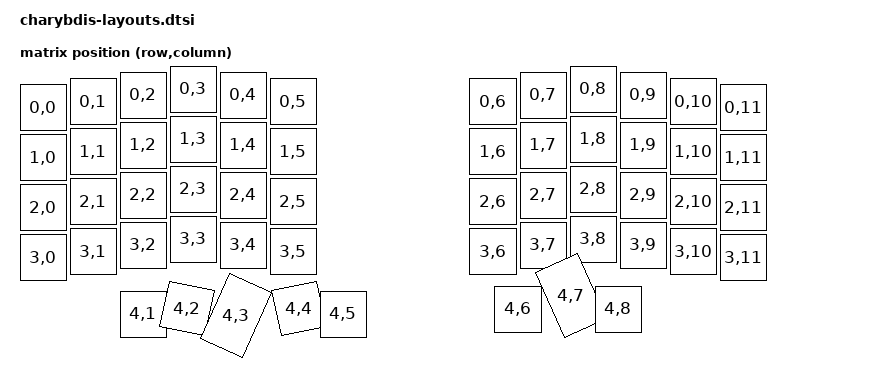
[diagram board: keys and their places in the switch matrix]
#include <physical_layouts.dtsi>

/ {

    default_transform0: keymap_transform_0 {
        compatible = "zmk,matrix-transform";
        columns = <16>;
        rows = <5>;

/*
| SW1  SW2  SW3  SW4  SW5  SW6  |         | SW7  SW8  SW9  SW10 SW11 SW12 |
| SW13 SW14 SW15 SW16 SW17 SW18 |         | SW19 SW20 SW21 SW22 SW23 SW24 |
| SW25 SW26 SW27 SW28 SW29 SW30 |         | SW31 SW32 SW33 SW34 SW35 SW36 |
| SW37 SW38 SW39 SW40 SW41 SW42 |         | SW43 SW44 SW45 SW46 SW47 SW48 |
|      SW49 SW50 SW51 SW52 SW53 |         | SW54 SW55 SW56                |
*/

        map = <
RC(0,0) RC(0,1) RC(0,2) RC(0,3) RC(0,4) RC(0,5)                 RC(0,6) RC(0,7) RC(0,8)  RC(0,9) RC(0,10) RC(0,11)
RC(1,0) RC(1,1) RC(1,2) RC(1,3) RC(1,4) RC(1,5)                 RC(1,6) RC(1,7) RC(1,8)  RC(1,9) RC(1,10) RC(1,11)
RC(2,0) RC(2,1) RC(2,2) RC(2,3) RC(2,4) RC(2,5)                 RC(2,6) RC(2,7) RC(2,8)  RC(2,9) RC(2,10) RC(2,11)
RC(3,0) RC(3,1) RC(3,2) RC(3,3) RC(3,4) RC(3,5)                 RC(3,6) RC(3,7) RC(3,8)  RC(3,9) RC(3,10) RC(3,11)
        RC(4,1) RC(4,2) RC(4,3) RC(4,4) RC(4,5)                 RC(4,6) RC(4,7) RC(4,8)
        >;
    };

    physical_layout0: physical_layout_0 {
        compatible = "zmk,physical-layout";
        display-name = "charybdis";

        kscan = <&kscan0>;
        transform = <&default_transform0>;

        keys  //                     w   h    x    y     rot    rx    ry

            /* --- Main matrix rows unchanged (4x6 per half) --- */

            /* Row 1 */
            = <&key_physical_attrs 100 100    0   37 0 0 0>
            , <&key_physical_attrs 100 100  100   25 0 0 0>
            , <&key_physical_attrs 100 100  200   12 0 0 0>
            , <&key_physical_attrs 100 100  300    0 0 0 0>
            , <&key_physical_attrs 100 100  400   12 0 0 0>
            , <&key_physical_attrs 100 100  500   25 0 0 0>

            , <&key_physical_attrs 100 100  900   25 0 0 0>
            , <&key_physical_attrs 100 100 1000   12 0 0 0>
            , <&key_physical_attrs 100 100 1100    0 0 0 0>
            , <&key_physical_attrs 100 100 1200   12 0 0 0>
            , <&key_physical_attrs 100 100 1300   25 0 0 0>
            , <&key_physical_attrs 100 100 1400   37 0 0 0>

            /* Row 2 */
            , <&key_physical_attrs 100 100    0  137 0 0 0>
            , <&key_physical_attrs 100 100  100  125 0 0 0>
            , <&key_physical_attrs 100 100  200  112 0 0 0>
            , <&key_physical_attrs 100 100  300  100 0 0 0>
            , <&key_physical_attrs 100 100  400  112 0 0 0>
            , <&key_physical_attrs 100 100  500  125 0 0 0>

            , <&key_physical_attrs 100 100  900  125 0 0 0>
            , <&key_physical_attrs 100 100 1000  112 0 0 0>
            , <&key_physical_attrs 100 100 1100  100 0 0 0>
            , <&key_physical_attrs 100 100 1200  112 0 0 0>
            , <&key_physical_attrs 100 100 1300  125 0 0 0>
            , <&key_physical_attrs 100 100 1400  137 0 0 0>

            /* Row 3 */
            , <&key_physical_attrs 100 100    0  237 0 0 0>
            , <&key_physical_attrs 100 100  100  225 0 0 0>
            , <&key_physical_attrs 100 100  200  212 0 0 0>
            , <&key_physical_attrs 100 100  300  200 0 0 0>
            , <&key_physical_attrs 100 100  400  212 0 0 0>
            , <&key_physical_attrs 100 100  500  225 0 0 0>

            , <&key_physical_attrs 100 100  900  225 0 0 0>
            , <&key_physical_attrs 100 100 1000  212 0 0 0>
            , <&key_physical_attrs 100 100 1100  200 0 0 0>
            , <&key_physical_attrs 100 100 1200  212 0 0 0>
            , <&key_physical_attrs 100 100 1300  225 0 0 0>
            , <&key_physical_attrs 100 100 1400  237 0 0 0>

            /* Row 4 */
            , <&key_physical_attrs 100 100    0  337 0 0 0>
            , <&key_physical_attrs 100 100  100  325 0 0 0>
            , <&key_physical_attrs 100 100  200  312 0 0 0>
            , <&key_physical_attrs 100 100  300  300 0 0 0>
            , <&key_physical_attrs 100 100  400  312 0 0 0>
            , <&key_physical_attrs 100 100  500  325 0 0 0>

            , <&key_physical_attrs 100 100  900  325 0 0 0>
            , <&key_physical_attrs 100 100 1000  312 0 0 0>
            , <&key_physical_attrs 100 100 1100  300 0 0 0>
            , <&key_physical_attrs 100 100 1200  312 0 0 0>
            , <&key_physical_attrs 100 100 1300  325 0 0 0>
            , <&key_physical_attrs 100 100 1400  337 0 0 0>

            /* --- Left thumb cluster (5 keys) --- */
            , <&key_physical_attrs 100 100  200  450 0 0 0>
            , <&key_physical_attrs 100 100  300  430 1200 300 430>
            , <&key_physical_attrs 100 150  400  410 2400 400 460>
            , <&key_physical_attrs 100 100  500  430 (-1200) 600 430>
            , <&key_physical_attrs 100 100  600  450 0 0 0>

            /* --- Right thumb cluster (3 keys only) --- */
            , <&key_physical_attrs 100 100  950  440 0 0 0>
            , <&key_physical_attrs 100 150 1050  410 (-2400) 1050 460>
            , <&key_physical_attrs 100 100 1150  440 0 0 0>
            ;
    };
};
